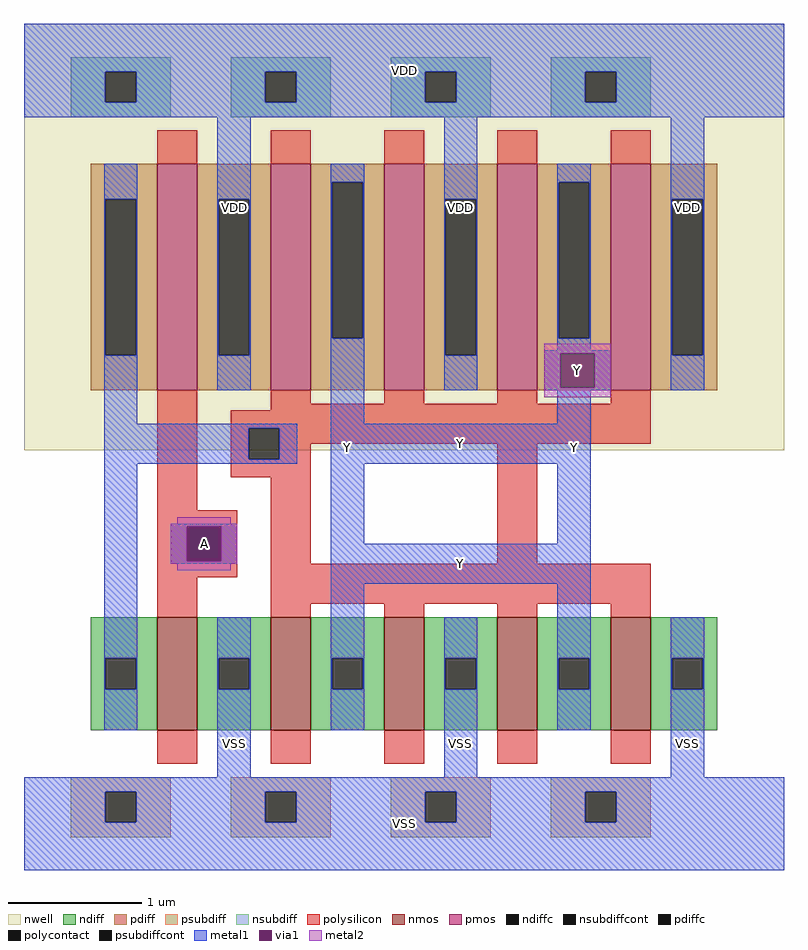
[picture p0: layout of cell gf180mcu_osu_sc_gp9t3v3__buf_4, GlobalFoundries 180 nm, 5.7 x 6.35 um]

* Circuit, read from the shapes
.subckt gf180mcu_osu_sc_gp9t3v3__buf_4 A Y VDD VSS
XM1 VSS A n1 VSS nfet_03v3 w=0.85u l=0.3u
XM2 Y n1 VSS VSS nfet_03v3 w=0.85u l=0.3u m=4
XM3 VDD A n1 VDD pfet_03v3 w=1.7u l=0.3u
XM4 Y n1 VDD VDD pfet_03v3 w=1.7u l=0.3u m=4
.ends

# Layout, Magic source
magic
tech gf180mcuA
magscale 1 10
<< nwell >>
rect 0 620 1140 1260
<< nmos >>
rect 200 200 260 370
rect 370 200 430 370
rect 540 200 600 370
rect 710 200 770 370
rect 880 200 940 370
<< pmos >>
rect 200 710 260 1050
rect 370 710 430 1050
rect 540 710 600 1050
rect 710 710 770 1050
rect 880 710 940 1050
<< ndiff >>
rect 100 308 200 370
rect 100 262 122 308
rect 168 262 200 308
rect 100 200 200 262
rect 260 308 370 370
rect 260 262 292 308
rect 338 262 370 308
rect 260 200 370 262
rect 430 308 540 370
rect 430 262 462 308
rect 508 262 540 308
rect 430 200 540 262
rect 600 308 710 370
rect 600 262 632 308
rect 678 262 710 308
rect 600 200 710 262
rect 770 308 880 370
rect 770 262 802 308
rect 848 262 880 308
rect 770 200 880 262
rect 940 308 1040 370
rect 940 262 972 308
rect 1018 262 1040 308
rect 940 200 1040 262
<< pdiff >>
rect 100 997 200 1050
rect 100 763 122 997
rect 168 763 200 997
rect 100 710 200 763
rect 260 997 370 1050
rect 260 763 292 997
rect 338 763 370 997
rect 260 710 370 763
rect 430 1022 540 1050
rect 430 788 462 1022
rect 508 788 540 1022
rect 430 710 540 788
rect 600 997 710 1050
rect 600 763 632 997
rect 678 763 710 997
rect 600 710 710 763
rect 770 1022 880 1050
rect 770 788 802 1022
rect 848 788 880 1022
rect 770 710 880 788
rect 940 997 1040 1050
rect 940 763 972 997
rect 1018 763 1040 997
rect 940 710 1040 763
<< ndiffc >>
rect 122 262 168 308
rect 292 262 338 308
rect 462 262 508 308
rect 632 262 678 308
rect 802 262 848 308
rect 972 262 1018 308
<< pdiffc >>
rect 122 763 168 997
rect 292 763 338 997
rect 462 788 508 1022
rect 632 763 678 997
rect 802 788 848 1022
rect 972 763 1018 997
<< psubdiff >>
rect 70 108 220 130
rect 70 62 122 108
rect 168 62 220 108
rect 70 40 220 62
rect 310 108 460 130
rect 310 62 362 108
rect 408 62 460 108
rect 310 40 460 62
rect 550 108 700 130
rect 550 62 602 108
rect 648 62 700 108
rect 550 40 700 62
rect 790 108 940 130
rect 790 62 842 108
rect 888 62 940 108
rect 790 40 940 62
<< nsubdiff >>
rect 70 1188 220 1210
rect 70 1142 122 1188
rect 168 1142 220 1188
rect 70 1120 220 1142
rect 310 1188 460 1210
rect 310 1142 362 1188
rect 408 1142 460 1188
rect 310 1120 460 1142
rect 550 1188 700 1210
rect 550 1142 602 1188
rect 648 1142 700 1188
rect 550 1120 700 1142
rect 790 1188 940 1210
rect 790 1142 842 1188
rect 888 1142 940 1188
rect 790 1120 940 1142
<< psubdiffcont >>
rect 122 62 168 108
rect 362 62 408 108
rect 602 62 648 108
rect 842 62 888 108
<< nsubdiffcont >>
rect 122 1142 168 1188
rect 362 1142 408 1188
rect 602 1142 648 1188
rect 842 1142 888 1188
<< polysilicon >>
rect 200 1050 260 1100
rect 370 1050 430 1100
rect 540 1050 600 1100
rect 710 1050 770 1100
rect 880 1050 940 1100
rect 200 530 260 710
rect 370 690 430 710
rect 540 690 600 710
rect 710 690 770 710
rect 880 690 940 710
rect 370 680 940 690
rect 310 653 940 680
rect 310 607 337 653
rect 383 630 940 653
rect 383 607 430 630
rect 310 580 430 607
rect 200 503 320 530
rect 200 457 247 503
rect 293 457 320 503
rect 200 430 320 457
rect 370 450 430 580
rect 710 450 770 630
rect 200 370 260 430
rect 370 390 940 450
rect 370 370 430 390
rect 540 370 600 390
rect 710 370 770 390
rect 880 370 940 390
rect 200 150 260 200
rect 370 150 430 200
rect 540 150 600 200
rect 710 150 770 200
rect 880 150 940 200
<< polycontact >>
rect 337 607 383 653
rect 247 457 293 503
<< metal1 >>
rect 0 1188 1140 1260
rect 0 1142 122 1188
rect 168 1142 362 1188
rect 408 1142 602 1188
rect 648 1142 842 1188
rect 888 1142 1140 1188
rect 0 1120 1140 1142
rect 120 997 170 1050
rect 120 763 122 997
rect 168 763 170 997
rect 120 660 170 763
rect 290 997 340 1120
rect 290 763 292 997
rect 338 763 340 997
rect 290 710 340 763
rect 460 1022 510 1050
rect 460 788 462 1022
rect 508 788 510 1022
rect 460 660 510 788
rect 630 997 680 1120
rect 630 763 632 997
rect 678 763 680 997
rect 800 1022 850 1050
rect 800 788 802 1022
rect 848 788 850 1022
rect 800 770 850 788
rect 970 997 1020 1120
rect 630 710 680 763
rect 780 766 880 770
rect 780 714 804 766
rect 856 714 880 766
rect 780 710 880 714
rect 970 763 972 997
rect 1018 763 1020 997
rect 970 710 1020 763
rect 800 660 850 710
rect 120 653 410 660
rect 120 607 337 653
rect 383 607 410 653
rect 120 600 410 607
rect 460 600 850 660
rect 120 308 170 600
rect 220 506 320 510
rect 220 454 244 506
rect 296 454 320 506
rect 220 450 320 454
rect 460 480 510 600
rect 800 480 850 600
rect 460 420 850 480
rect 120 262 122 308
rect 168 262 170 308
rect 120 200 170 262
rect 290 308 340 370
rect 290 262 292 308
rect 338 262 340 308
rect 290 130 340 262
rect 460 308 510 420
rect 460 262 462 308
rect 508 262 510 308
rect 460 200 510 262
rect 630 308 680 370
rect 630 262 632 308
rect 678 262 680 308
rect 630 130 680 262
rect 800 308 850 420
rect 800 262 802 308
rect 848 262 850 308
rect 800 200 850 262
rect 970 308 1020 370
rect 970 262 972 308
rect 1018 262 1020 308
rect 970 130 1020 262
rect 0 108 1140 130
rect 0 62 122 108
rect 168 62 362 108
rect 408 62 602 108
rect 648 62 842 108
rect 888 62 1140 108
rect 0 -10 1140 62
<< via1 >>
rect 804 714 856 766
rect 244 503 296 506
rect 244 457 247 503
rect 247 457 293 503
rect 293 457 296 503
rect 244 454 296 457
<< metal2 >>
rect 780 766 880 780
rect 780 714 804 766
rect 856 714 880 766
rect 780 700 880 714
rect 230 510 310 520
rect 220 506 320 510
rect 220 454 244 506
rect 296 454 320 506
rect 220 450 320 454
rect 230 440 310 450
<< labels >>
rlabel via1 s 244 454 296 506 4 A
port 1 nsew signal input
rlabel via1 s 804 714 856 766 4 Y
port 2 nsew signal output
rlabel metal1 s 290 710 340 1260 4 VDD
port 3 nsew power bidirectional abutment
rlabel metal1 s 290 -10 340 370 4 VSS
port 4 nsew ground bidirectional abutment
rlabel metal1 s 630 710 680 1260 1 VDD
port 3 nsew power bidirectional abutment
rlabel metal1 s 970 710 1020 1260 1 VDD
port 3 nsew power bidirectional abutment
rlabel metal1 s 0 1120 1140 1260 1 VDD
port 3 nsew power bidirectional abutment
rlabel metal1 s 630 -10 680 370 1 VSS
port 4 nsew ground bidirectional abutment
rlabel metal1 s 970 -10 1020 370 1 VSS
port 4 nsew ground bidirectional abutment
rlabel metal1 s 0 -10 1140 130 1 VSS
port 4 nsew ground bidirectional abutment
rlabel metal2 s 230 440 310 520 1 A
port 1 nsew signal input
rlabel metal2 s 220 450 320 510 1 A
port 1 nsew signal input
rlabel metal1 s 220 450 320 510 1 A
port 1 nsew signal input
rlabel metal2 s 780 700 880 780 1 Y
port 2 nsew signal output
rlabel metal1 s 460 200 510 1050 1 Y
port 2 nsew signal output
rlabel metal1 s 460 420 850 480 1 Y
port 2 nsew signal output
rlabel metal1 s 460 600 850 660 1 Y
port 2 nsew signal output
rlabel metal1 s 800 200 850 1050 1 Y
port 2 nsew signal output
rlabel metal1 s 780 710 880 770 1 Y
port 2 nsew signal output
<< properties >>
string FIXED_BBOX 0 -10 1140 1260
string GDS_END 68446
string GDS_FILE $PDKPATH/libs.ref/gf180mcu_osu_sc_gp9t3v3/gds/gf180mcu_osu_sc_gp9t3v3.gds
string GDS_START 61630
string LEFclass CORE
string LEFsite gf180mcu_osu_sc_gp9t3v3
string LEFsymmetry X Y
<< end >>
